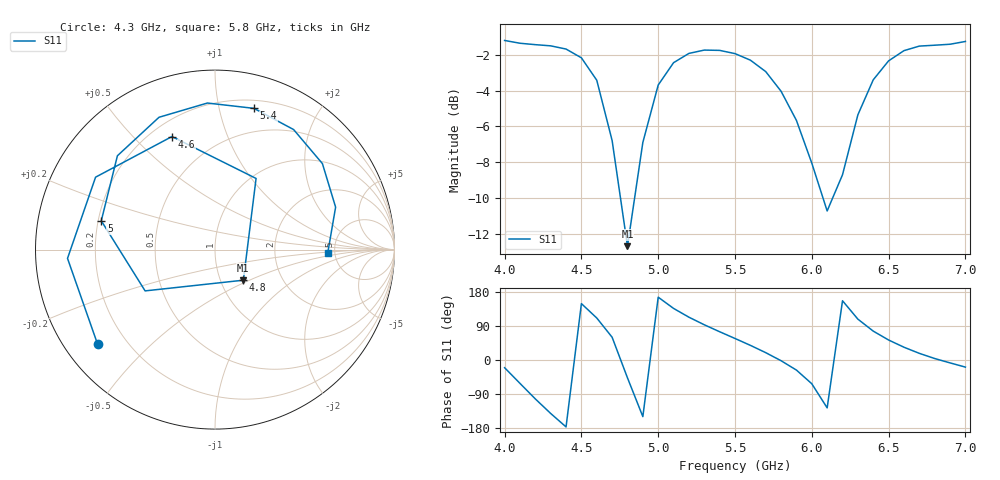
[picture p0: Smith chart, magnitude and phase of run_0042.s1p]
! Touchstone file exported from HFSS 2024.2.0
!  File:  C:/Users/wsak9/Desktop/Sim Fast/Widenad Patch/WP_AI_V1_sweep.aedt
!  Generated:  04:34:26 PM Oct 13, 2026
!  Design:  A1_model
!  Project:  WP_AI_V1_sweep
!  Setup:  Setup1
!  Solution:  Sweep
! Variables:
!  Air_gap = 1.99mm
!  Curve_Amp1 = 3.35
!  Curve_len1 = 1
!  Curve_pos = 12.295mm
!  Extra = 3.19mm
!  H_sub = 0.79mm
!  L_Patch = 20.59mm
!  L_Patch1 = 15.72mm
!  Sx = 4.52mm
!  Sy = 1.38mm
!  WS = 1.22mm
!  W_Patch = 11.26mm
!  W_Patch1 = 12.53mm
!Data is not renormalized
# GHz S MA
! Terminal data exported
! Port[1] = 1
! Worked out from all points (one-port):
!   31 points, 4 GHz to 7 GHz, reference per port
!   lowest |S11| = -12.7 dB at 4.8 GHz (marker M1), VSWR 1.61
!   |S11| at or under -10 dB: 4.755 GHz to 4.846 GHz (91.64 MHz wide, 1.91 % of centre); 6.073 GHz to 6.135 GHz (61.83 MHz wide, 1.01 % of centre)
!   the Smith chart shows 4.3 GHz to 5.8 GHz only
!   S11 on the Smith chart (normalised r, x): 4.3 GHz: 0.10, -0.35; 4.6 GHz: 0.28, +0.65; 4.8 GHz: 1.28, -0.46; 5 GHz: 0.21, +0.12; 5.4 GHz: 0.27, +1.28; 5.8 GHz: 4.35, -0.30
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4  0.8699 -20.3
4.1  0.8544 -61.7
4.2  0.8467 -102.7
4.3  0.8403 -141.1
4.4  0.8232 -176.6
4.5  0.7782 148.8
4.6  0.674 110.8
4.7  0.4577 60.0
4.8  0.2325 -47.2
4.9  0.4523 -149.4
5  0.6536 165.8
5.1  0.7543 136.1
5.2  0.8006 112.9
5.3  0.8177 93.0
5.4  0.8162 74.6
5.5  0.7995 56.8
5.7  0.7124 19.4
5.8  0.628 -1.9
5.9  0.5208 -26.6
6  0.396 -62.7
6.1  0.2914 -126.3
6.2  0.3676 156.3
6.3  0.5399 107.8
6.4  0.6758 76.2
6.5  0.7632 52.7
6.6  0.8148 33.7
6.7  0.8389 17.6
7  0.8642 -18.7
